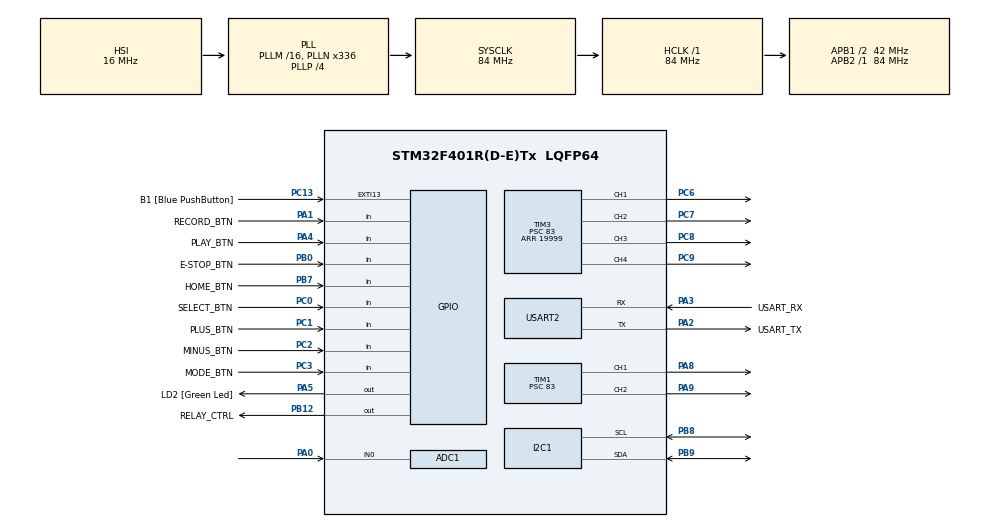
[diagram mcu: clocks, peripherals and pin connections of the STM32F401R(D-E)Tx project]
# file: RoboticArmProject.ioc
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ADC1.Channel-0\#ChannelRegularConversion=ADC_CHANNEL_0
ADC1.NbrOfConversionFlag=1
ADC1.Rank-0\#ChannelRegularConversion=1
ADC1.SamplingTime-0\#ChannelRegularConversion=ADC_SAMPLETIME_3CYCLES
ADC1.master=1
FREERTOS.Mutexes01=xMutex1,Dynamic,NULL,Available
FREERTOS.Tasks01=StartTask_Monit,48,512,StartTask_MonitorFcn,Default,NULL,Dynamic,NULL,NULL;StartTask_Servo,40,512,StartTask_ServoFcn,Default,NULL,Dynamic,NULL,NULL;StartTask_Logic,32,512,StartTask_LogicFcn,Default,NULL,Dynamic,NULL,NULL;StartTask_HMI,24,512,StartTask_HMIFcn,Default,NULL,Dynamic,NULL,NULL
Mcu.Family=STM32F4
Mcu.Name=STM32F401R(D-E)Tx
Mcu.Package=LQFP64
NVIC.PriorityGroup=NVIC_PRIORITYGROUP_4
PA0-WKUP.Signal=ADCx_IN0
PA1.GPIO_Label=RECORD_BTN
PA1.GPIO_PuPd=GPIO_NOPULL
PA1.Signal=GPIO_Input
PA13.GPIO_Label=TMS
PA13.Mode=Trace_Asynchronous_SW
PA13.Signal=SYS_JTMS-SWDIO
PA14.GPIO_Label=TCK
PA14.Mode=Trace_Asynchronous_SW
PA14.Signal=SYS_JTCK-SWCLK
PA2.GPIO_Label=USART_TX
PA2.GPIO_Mode=GPIO_MODE_AF_PP
PA2.GPIO_PuPd=GPIO_NOPULL
PA2.GPIO_Speed=GPIO_SPEED_FREQ_LOW
PA2.Mode=Asynchronous
PA2.Signal=USART2_TX
PA3.GPIO_Label=USART_RX
PA3.GPIO_Mode=GPIO_MODE_AF_PP
PA3.GPIO_PuPd=GPIO_NOPULL
PA3.GPIO_Speed=GPIO_SPEED_FREQ_LOW
PA3.Mode=Asynchronous
PA3.Signal=USART2_RX
PA4.GPIO_Label=PLAY_BTN
PA4.GPIO_PuPd=GPIO_NOPULL
PA4.Signal=GPIO_Input
PA5.GPIO_Label=LD2 [Green Led]
PA5.GPIO_Mode=GPIO_MODE_OUTPUT_PP
PA5.GPIO_PuPd=GPIO_NOPULL
PA5.GPIO_Speed=GPIO_SPEED_FREQ_LOW
PA5.Signal=GPIO_Output
PA8.Signal=S_TIM1_CH1
PA9.Signal=S_TIM1_CH2
PB0.GPIO_Label=E-STOP_BTN
PB0.Signal=GPIO_Input
PB12.GPIO_Label=RELAY_CTRL
PB12.Signal=GPIO_Output
PB3.GPIO_Label=SWO
PB3.Mode=Trace_Asynchronous_SW
PB3.Signal=SYS_JTDO-SWO
PB7.GPIO_Label=HOME_BTN
PB7.GPIO_PuPd=GPIO_NOPULL
PB7.Signal=GPIO_Input
PB8.GPIO_Pu=GPIO_PULLUP
PB8.Mode=I2C
PB8.Signal=I2C1_SCL
PB9.GPIO_Pu=GPIO_PULLUP
PB9.Mode=I2C
PB9.Signal=I2C1_SDA
PC0.GPIO_Label=SELECT_BTN
PC0.GPIO_PuPd=GPIO_NOPULL
PC0.Signal=GPIO_Input
PC1.GPIO_Label=PLUS_BTN
PC1.GPIO_PuPd=GPIO_NOPULL
PC1.Signal=GPIO_Input
PC13-ANTI_TAMP.GPIO_Label=B1 [Blue PushButton]
PC13-ANTI_TAMP.GPIO_ModeDefaultEXTI=GPIO_MODE_IT_FALLING
PC13-ANTI_TAMP.GPIO_PuPd=GPIO_NOPULL
PC13-ANTI_TAMP.Signal=GPXTI13
PC14-OSC32_IN.Mode=LSE-External-Oscillator
PC14-OSC32_IN.Signal=RCC_OSC32_IN
PC15-OSC32_OUT.Mode=LSE-External-Oscillator
PC15-OSC32_OUT.Signal=RCC_OSC32_OUT
PC2.GPIO_Label=MINUS_BTN
PC2.GPIO_PuPd=GPIO_NOPULL
PC2.Signal=GPIO_Input
PC3.GPIO_Label=MODE_BTN
PC3.GPIO_PuPd=GPIO_NOPULL
PC3.Signal=GPIO_Input
PC6.Signal=S_TIM3_CH1
PC7.Signal=S_TIM3_CH2
PC8.Signal=S_TIM3_CH3
PC9.Signal=S_TIM3_CH4
PH0\ -\ OSC_IN.Mode=HSE-External-Clock-Source
PH0\ -\ OSC_IN.Signal=RCC_OSC_IN
PH1\ -\ OSC_OUT.Mode=HSE-External-Clock-Source
PH1\ -\ OSC_OUT.Signal=RCC_OSC_OUT
ProjectManager.HeapSize=0x200
ProjectManager.StackSize=0x400
ProjectManager.TargetToolchain=STM32CubeIDE
RCC.48MHZClocksFreq_Value=48000000
RCC.AHBFreq_Value=84000000
RCC.APB1CLKDivider=RCC_HCLK_DIV2
RCC.APB1Freq_Value=42000000
RCC.APB1TimFreq_Value=84000000
RCC.APB2Freq_Value=84000000
RCC.APB2TimFreq_Value=84000000
RCC.CortexFreq_Value=84000000
RCC.HCLKFreq_Value=84000000
RCC.HSE_VALUE=8000000
RCC.HSI_VALUE=16000000
RCC.PLLN=336
RCC.PLLP=RCC_PLLP_DIV4
RCC.PLLQ=7
RCC.SYSCLKFreq_VALUE=84000000
RCC.SYSCLKSource=RCC_SYSCLKSOURCE_PLLCLK
RCC.VCOOutputFreq_Value=336000000
SH.ADCx_IN0.0=ADC1_IN0,IN0
SH.S_TIM1_CH1.0=TIM1_CH1,PWM Generation1 CH1
SH.S_TIM1_CH2.0=TIM1_CH2,PWM Generation2 CH2
SH.S_TIM3_CH1.0=TIM3_CH1,PWM Generation1 CH1
SH.S_TIM3_CH2.0=TIM3_CH2,PWM Generation2 CH2
SH.S_TIM3_CH3.0=TIM3_CH3,PWM Generation3 CH3
SH.S_TIM3_CH4.0=TIM3_CH4,PWM Generation4 CH4
TIM1.Channel-PWM\ Generation1\ CH1=TIM_CHANNEL_1
TIM1.Channel-PWM\ Generation2\ CH2=TIM_CHANNEL_2
TIM1.Period=19999
TIM1.Prescaler=83
TIM3.Channel-PWM\ Generation1\ CH1=TIM_CHANNEL_1
TIM3.Channel-PWM\ Generation2\ CH2=TIM_CHANNEL_2
TIM3.Channel-PWM\ Generation3\ CH3=TIM_CHANNEL_3
TIM3.Channel-PWM\ Generation4\ CH4=TIM_CHANNEL_4
TIM3.Period=19999
TIM3.Prescaler=83
USART2.VirtualMode=VM_ASYNC
VP_FREERTOS_VS_CMSIS_V2.Mode=CMSIS_V2
VP_TIM1_VS_ClockSourceINT.Mode=Internal
VP_TIM3_VS_ClockSourceINT.Mode=Internal
board=NUCLEO-F401RE

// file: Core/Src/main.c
/* USER CODE BEGIN Header */
/**
  ******************************************************************************
  * @file           : main.c
  * @brief          : Main program body
  ******************************************************************************
  * @attention
  *
  * Copyright (c) 2025 STMicroelectronics.
  * All rights reserved.
  *
  * This software is licensed under terms that can be found in the LICENSE file
  * in the root directory of this software component.
  * If no LICENSE file comes with this software, it is provided AS-IS.
  *
  ******************************************************************************
  */
/* USER CODE END Header */
#include "main.h"
#include "cmsis_os.h"

/* USER CODE BEGIN Includes */
#include "lcd_i2c.h"
#include "kinematics.h"
#include <string.h>
#include <stdio.h>
/* USER CODE END Includes */

ADC_HandleTypeDef hadc1;

I2C_HandleTypeDef hi2c1;

TIM_HandleTypeDef htim1;
TIM_HandleTypeDef htim3;

UART_HandleTypeDef huart2;

/* Definitions for StartTask_Monit */
osThreadId_t StartTask_MonitHandle;
const osThreadAttr_t StartTask_Monit_attributes = {
  .name = "StartTask_Monit",
  .stack_size = 512 * 4,
  .priority = (osPriority_t) osPriorityRealtime,
};
/* Definitions for StartTask_Servo */
osThreadId_t StartTask_ServoHandle;
const osThreadAttr_t StartTask_Servo_attributes = {
  .name = "StartTask_Servo",
  .stack_size = 512 * 4,
  .priority = (osPriority_t) osPriorityHigh,
};
/* Definitions for StartTask_Logic */
osThreadId_t StartTask_LogicHandle;
const osThreadAttr_t StartTask_Logic_attributes = {
  .name = "StartTask_Logic",
  .stack_size = 512 * 4,
  .priority = (osPriority_t) osPriorityAboveNormal,
};
/* Definitions for StartTask_HMI */
osThreadId_t StartTask_HMIHandle;
const osThreadAttr_t StartTask_HMI_attributes = {
  .name = "StartTask_HMI",
  .stack_size = 512 * 4,
  .priority = (osPriority_t) osPriorityNormal,
};
/* Definitions for xMutex1 */
osMutexId_t xMutex1Handle;
const osMutexAttr_t xMutex1_attributes = {
  .name = "xMutex1"
};
/* USER CODE BEGIN PV */

#define BTN_SELECT_PORT GPIOC
#define BTN_SELECT_PIN  GPIO_PIN_0

#define BTN_PLUS_PORT   GPIOC
#define BTN_PLUS_PIN    GPIO_PIN_1

#define BTN_MINUS_PORT  GPIOC
#define BTN_MINUS_PIN   GPIO_PIN_2

#define BTN_MODE_PORT   GPIOC
#define BTN_MODE_PIN    GPIO_PIN_3

#define BTN_RECORD_PORT GPIOA
#define BTN_RECORD_PIN  GPIO_PIN_1

#define BTN_PLAY_PORT   GPIOA
#define BTN_PLAY_PIN    GPIO_PIN_4

#define BTN_HOME_PORT   GPIOB
#define BTN_HOME_PIN    GPIO_PIN_7

#define BTN_ESTOP_PORT  GPIOB
#define BTN_ESTOP_PIN   GPIO_PIN_0

#define RELAY_PORT      GPIOB
#define RELAY_PIN       GPIO_PIN_12

#define MAX_POINTS 20

#define HOME_M1   90.0f
#define HOME_M2   90.0f
#define HOME_M3   90.0f
#define HOME_M4   90.0f
#define HOME_M5   90.0f
#define HOME_GRIP 5.0f

/* USER CODE END PV */

void SystemClock_Config(void);
static void MX_GPIO_Init(void);
static void MX_USART2_UART_Init(void);
static void MX_ADC1_Init(void);
static void MX_TIM1_Init(void);
static void MX_TIM3_Init(void);
static void MX_I2C1_Init(void);
void StartTask_MonitorFcn(void *argument);
void StartTask_ServoFcn(void *argument);
void StartTask_LogicFcn(void *argument);
void StartTask_HMIFcn(void *argument);

int main(void)
{

  /* MCU Configuration--------------------------------------------------------*/

  /* Reset of all peripherals, Initializes the Flash interface and the Systick. */
  HAL_Init();

  /* Configure the system clock */
  SystemClock_Config();

  /* Initialize all configured peripherals */
  MX_GPIO_Init();
  MX_USART2_UART_Init();
  MX_ADC1_Init();
  MX_TIM1_Init();
  MX_TIM3_Init();
  MX_I2C1_Init();
  /* USER CODE BEGIN 2 */
  LCD_Init();
  LCD_Clear();

  /* USER CODE END 2 */

  /* Init scheduler */
  osKernelInitialize();
  /* Create the mutex(es) */
  /* creation of xMutex1 */
  xMutex1Handle = osMutexNew(&xMutex1_attributes);

  /* Create the thread(s) */
  /* creation of StartTask_Monit */
  StartTask_MonitHandle = osThreadNew(StartTask_MonitorFcn, NULL, &StartTask_Monit_attributes);

  /* creation of StartTask_Servo */
  StartTask_ServoHandle = osThreadNew(StartTask_ServoFcn, NULL, &StartTask_Servo_attributes);

  /* creation of StartTask_Logic */
  StartTask_LogicHandle = osThreadNew(StartTask_LogicFcn, NULL, &StartTask_Logic_attributes);

  /* creation of StartTask_HMI */
  StartTask_HMIHandle = osThreadNew(StartTask_HMIFcn, NULL, &StartTask_HMI_attributes);

  /* Start scheduler */
  osKernelStart();

  /* We should never get here as control is now taken by the scheduler */

  /* Infinite loop */
  while (1)
    {

  }
}

void SystemClock_Config(void)
{
  RCC_OscInitTypeDef RCC_OscInitStruct = {0};
  RCC_ClkInitTypeDef RCC_ClkInitStruct = {0};

  /** Configure the main internal regulator output voltage
  */
  __HAL_RCC_PWR_CLK_ENABLE();
  __HAL_PWR_VOLTAGESCALING_CONFIG(PWR_REGULATOR_VOLTAGE_SCALE2);

  /** Initializes the RCC Oscillators according to the specified parameters
  * in the RCC_OscInitTypeDef structure.
  */
  RCC_OscInitStruct.OscillatorType = RCC_OSCILLATORTYPE_HSI;
  RCC_OscInitStruct.HSIState = RCC_HSI_ON;
  RCC_OscInitStruct.HSICalibrationValue = RCC_HSICALIBRATION_DEFAULT;
  RCC_OscInitStruct.PLL.PLLState = RCC_PLL_ON;
  RCC_OscInitStruct.PLL.PLLSource = RCC_PLLSOURCE_HSI;
  RCC_OscInitStruct.PLL.PLLM = 16;
  RCC_OscInitStruct.PLL.PLLN = 336;
  RCC_OscInitStruct.PLL.PLLP = RCC_PLLP_DIV4;
  RCC_OscInitStruct.PLL.PLLQ = 7;
  if (HAL_RCC_OscConfig(&RCC_OscInitStruct) != HAL_OK)
  {
    Error_Handler();
  }

  /** Initializes the CPU, AHB and APB buses clocks
  */
  RCC_ClkInitStruct.ClockType = RCC_CLOCKTYPE_HCLK|RCC_CLOCKTYPE_SYSCLK
                              |RCC_CLOCKTYPE_PCLK1|RCC_CLOCKTYPE_PCLK2;
  RCC_ClkInitStruct.SYSCLKSource = RCC_SYSCLKSOURCE_PLLCLK;
  RCC_ClkInitStruct.AHBCLKDivider = RCC_SYSCLK_DIV1;
  RCC_ClkInitStruct.APB1CLKDivider = RCC_HCLK_DIV2;
  RCC_ClkInitStruct.APB2CLKDivider = RCC_HCLK_DIV1;

  if (HAL_RCC_ClockConfig(&RCC_ClkInitStruct, FLASH_LATENCY_2) != HAL_OK)
  {
    Error_Handler();
  }
}

static void MX_ADC1_Init(void)
{

  ADC_ChannelConfTypeDef sConfig = {0};

  /** Configure the global features of the ADC (Clock, Resolution, Data Alignment and number of conversion)
  */
  hadc1.Instance = ADC1;
  hadc1.Init.ClockPrescaler = ADC_CLOCK_SYNC_PCLK_DIV4;
  hadc1.Init.Resolution = ADC_RESOLUTION_12B;
  hadc1.Init.ScanConvMode = DISABLE;
  hadc1.Init.ContinuousConvMode = DISABLE;
  hadc1.Init.DiscontinuousConvMode = DISABLE;
  hadc1.Init.ExternalTrigConvEdge = ADC_EXTERNALTRIGCONVEDGE_NONE;
  hadc1.Init.ExternalTrigConv = ADC_SOFTWARE_START;
  hadc1.Init.DataAlign = ADC_DATAALIGN_RIGHT;
  hadc1.Init.NbrOfConversion = 1;
  hadc1.Init.DMAContinuousRequests = DISABLE;
  hadc1.Init.EOCSelection = ADC_EOC_SINGLE_CONV;
  if (HAL_ADC_Init(&hadc1) != HAL_OK)
  {
    Error_Handler();
  }

  /** Configure for the selected ADC regular channel its corresponding rank in the sequencer and its sample time.
  */
  sConfig.Channel = ADC_CHANNEL_0;
  sConfig.Rank = 1;
  sConfig.SamplingTime = ADC_SAMPLETIME_3CYCLES;
  if (HAL_ADC_ConfigChannel(&hadc1, &sConfig) != HAL_OK)
  {
    Error_Handler();
  }

}

static void MX_I2C1_Init(void)
{

  hi2c1.Instance = I2C1;
  hi2c1.Init.ClockSpeed = 100000;
  hi2c1.Init.DutyCycle = I2C_DUTYCYCLE_2;
  hi2c1.Init.OwnAddress1 = 0;
  hi2c1.Init.AddressingMode = I2C_ADDRESSINGMODE_7BIT;
  hi2c1.Init.DualAddressMode = I2C_DUALADDRESS_DISABLE;
  hi2c1.Init.OwnAddress2 = 0;
  hi2c1.Init.GeneralCallMode = I2C_GENERALCALL_DISABLE;
  hi2c1.Init.NoStretchMode = I2C_NOSTRETCH_DISABLE;
  if (HAL_I2C_Init(&hi2c1) != HAL_OK)
  {
    Error_Handler();
  }

}

static void MX_TIM1_Init(void)
{

  TIM_ClockConfigTypeDef sClockSourceConfig = {0};
  TIM_MasterConfigTypeDef sMasterConfig = {0};
  TIM_OC_InitTypeDef sConfigOC = {0};
  TIM_BreakDeadTimeConfigTypeDef sBreakDeadTimeConfig = {0};

  htim1.Instance = TIM1;
  htim1.Init.Prescaler = 83;
  htim1.Init.CounterMode = TIM_COUNTERMODE_UP;
  htim1.Init.Period = 19999;
  htim1.Init.ClockDivision = TIM_CLOCKDIVISION_DIV1;
  htim1.Init.RepetitionCounter = 0;
  htim1.Init.AutoReloadPreload = TIM_AUTORELOAD_PRELOAD_DISABLE;
  if (HAL_TIM_Base_Init(&htim1) != HAL_OK)
  {
    Error_Handler();
  }
  sClockSourceConfig.ClockSource = TIM_CLOCKSOURCE_INTERNAL;
  if (HAL_TIM_ConfigClockSource(&htim1, &sClockSourceConfig) != HAL_OK)
  {
    Error_Handler();
  }
  if (HAL_TIM_PWM_Init(&htim1) != HAL_OK)
  {
    Error_Handler();
  }
  sMasterConfig.MasterOutputTrigger = TIM_TRGO_RESET;
  sMasterConfig.MasterSlaveMode = TIM_MASTERSLAVEMODE_DISABLE;
  if (HAL_TIMEx_MasterConfigSynchronization(&htim1, &sMasterConfig) != HAL_OK)
  {
    Error_Handler();
  }
  sConfigOC.OCMode = TIM_OCMODE_PWM1;
  sConfigOC.Pulse = 0;
  sConfigOC.OCPolarity = TIM_OCPOLARITY_HIGH;
  sConfigOC.OCNPolarity = TIM_OCNPOLARITY_HIGH;
  sConfigOC.OCFastMode = TIM_OCFAST_DISABLE;
  sConfigOC.OCIdleState = TIM_OCIDLESTATE_RESET;
  sConfigOC.OCNIdleState = TIM_OCNIDLESTATE_RESET;
  if (HAL_TIM_PWM_ConfigChannel(&htim1, &sConfigOC, TIM_CHANNEL_1) != HAL_OK)
  {
    Error_Handler();
  }
  if (HAL_TIM_PWM_ConfigChannel(&htim1, &sConfigOC, TIM_CHANNEL_2) != HAL_OK)
  {
    Error_Handler();
  }
  sBreakDeadTimeConfig.OffStateRunMode = TIM_OSSR_DISABLE;
  sBreakDeadTimeConfig.OffStateIDLEMode = TIM_OSSI_DISABLE;
  sBreakDeadTimeConfig.LockLevel = TIM_LOCKLEVEL_OFF;
  sBreakDeadTimeConfig.DeadTime = 0;
  sBreakDeadTimeConfig.BreakState = TIM_BREAK_DISABLE;
  sBreakDeadTimeConfig.BreakPolarity = TIM_BREAKPOLARITY_HIGH;
  sBreakDeadTimeConfig.AutomaticOutput = TIM_AUTOMATICOUTPUT_DISABLE;
  if (HAL_TIMEx_ConfigBreakDeadTime(&htim1, &sBreakDeadTimeConfig) != HAL_OK)
  {
    Error_Handler();
  }
  HAL_TIM_MspPostInit(&htim1);

}

static void MX_TIM3_Init(void)
{

  TIM_ClockConfigTypeDef sClockSourceConfig = {0};
  TIM_MasterConfigTypeDef sMasterConfig = {0};
  TIM_OC_InitTypeDef sConfigOC = {0};

  htim3.Instance = TIM3;
  htim3.Init.Prescaler = 83;
  htim3.Init.CounterMode = TIM_COUNTERMODE_UP;
  htim3.Init.Period = 19999;
  htim3.Init.ClockDivision = TIM_CLOCKDIVISION_DIV1;
  htim3.Init.AutoReloadPreload = TIM_AUTORELOAD_PRELOAD_DISABLE;
  if (HAL_TIM_Base_Init(&htim3) != HAL_OK)
  {
    Error_Handler();
  }
  sClockSourceConfig.ClockSource = TIM_CLOCKSOURCE_INTERNAL;
  if (HAL_TIM_ConfigClockSource(&htim3, &sClockSourceConfig) != HAL_OK)
  {
    Error_Handler();
  }
  if (HAL_TIM_PWM_Init(&htim3) != HAL_OK)
  {
    Error_Handler();
  }
  sMasterConfig.MasterOutputTrigger = TIM_TRGO_RESET;
  sMasterConfig.MasterSlaveMode = TIM_MASTERSLAVEMODE_DISABLE;
  if (HAL_TIMEx_MasterConfigSynchronization(&htim3, &sMasterConfig) != HAL_OK)
  {
    Error_Handler();
  }
  sConfigOC.OCMode = TIM_OCMODE_PWM1;
  sConfigOC.Pulse = 0;
  sConfigOC.OCPolarity = TIM_OCPOLARITY_HIGH;
  sConfigOC.OCFastMode = TIM_OCFAST_DISABLE;
  if (HAL_TIM_PWM_ConfigChannel(&htim3, &sConfigOC, TIM_CHANNEL_1) != HAL_OK)
  {
    Error_Handler();
  }
  if (HAL_TIM_PWM_ConfigChannel(&htim3, &sConfigOC, TIM_CHANNEL_2) != HAL_OK)
  {
    Error_Handler();
  }
  if (HAL_TIM_PWM_ConfigChannel(&htim3, &sConfigOC, TIM_CHANNEL_3) != HAL_OK)
  {
    Error_Handler();
  }
  if (HAL_TIM_PWM_ConfigChannel(&htim3, &sConfigOC, TIM_CHANNEL_4) != HAL_OK)
  {
    Error_Handler();
  }
  HAL_TIM_MspPostInit(&htim3);

}

static void MX_USART2_UART_Init(void)
{

  huart2.Instance = USART2;
  huart2.Init.BaudRate = 115200;
  huart2.Init.WordLength = UART_WORDLENGTH_8B;
  huart2.Init.StopBits = UART_STOPBITS_1;
  huart2.Init.Parity = UART_PARITY_NONE;
  huart2.Init.Mode = UART_MODE_TX_RX;
  huart2.Init.HwFlowCtl = UART_HWCONTROL_NONE;
  huart2.Init.OverSampling = UART_OVERSAMPLING_16;
  if (HAL_UART_Init(&huart2) != HAL_OK)
  {
    Error_Handler();
  }

}

static void MX_GPIO_Init(void)
{
  GPIO_InitTypeDef GPIO_InitStruct = {0};

  /* GPIO Ports Clock Enable */
  __HAL_RCC_GPIOC_CLK_ENABLE();
  __HAL_RCC_GPIOH_CLK_ENABLE();
  __HAL_RCC_GPIOA_CLK_ENABLE();
  __HAL_RCC_GPIOB_CLK_ENABLE();

  /*Configure GPIO pin Output Level */
  HAL_GPIO_WritePin(LD2_GPIO_Port, LD2_Pin, GPIO_PIN_RESET);

  /*Configure GPIO pin Output Level */
  HAL_GPIO_WritePin(RELAY_CTRL_GPIO_Port, RELAY_CTRL_Pin, GPIO_PIN_RESET);

  /*Configure GPIO pin : B1_Pin */
  GPIO_InitStruct.Pin = B1_Pin;
  GPIO_InitStruct.Mode = GPIO_MODE_IT_FALLING;
  GPIO_InitStruct.Pull = GPIO_NOPULL;
  HAL_GPIO_Init(B1_GPIO_Port, &GPIO_InitStruct);

  /*Configure GPIO pins : SELECT_BTN_Pin PLUS_BTN_Pin MINUS_BTN_Pin MODE_BTN_Pin */
  GPIO_InitStruct.Pin = SELECT_BTN_Pin|PLUS_BTN_Pin|MINUS_BTN_Pin|MODE_BTN_Pin;
  GPIO_InitStruct.Mode = GPIO_MODE_INPUT;
  GPIO_InitStruct.Pull = GPIO_NOPULL;
  HAL_GPIO_Init(GPIOC, &GPIO_InitStruct);

  /*Configure GPIO pins : RECORD_BTN_Pin PLAY_BTN_Pin */
  GPIO_InitStruct.Pin = RECORD_BTN_Pin|PLAY_BTN_Pin;
  GPIO_InitStruct.Mode = GPIO_MODE_INPUT;
  GPIO_InitStruct.Pull = GPIO_NOPULL;
  HAL_GPIO_Init(GPIOA, &GPIO_InitStruct);

  /*Configure GPIO pin : LD2_Pin */
  GPIO_InitStruct.Pin = LD2_Pin;
  GPIO_InitStruct.Mode = GPIO_MODE_OUTPUT_PP;
  GPIO_InitStruct.Pull = GPIO_NOPULL;
  GPIO_InitStruct.Speed = GPIO_SPEED_FREQ_LOW;
  HAL_GPIO_Init(LD2_GPIO_Port, &GPIO_InitStruct);

  /*Configure GPIO pins : E_STOP_BTN_Pin HOME_BTN_Pin */
  GPIO_InitStruct.Pin = E_STOP_BTN_Pin|HOME_BTN_Pin;
  GPIO_InitStruct.Mode = GPIO_MODE_INPUT;
  GPIO_InitStruct.Pull = GPIO_NOPULL;
  HAL_GPIO_Init(GPIOB, &GPIO_InitStruct);

  /*Configure GPIO pin : RELAY_CTRL_Pin */
  GPIO_InitStruct.Pin = RELAY_CTRL_Pin;
  GPIO_InitStruct.Mode = GPIO_MODE_OUTPUT_PP;
  GPIO_InitStruct.Pull = GPIO_NOPULL;
  GPIO_InitStruct.Speed = GPIO_SPEED_FREQ_LOW;
  HAL_GPIO_Init(RELAY_CTRL_GPIO_Port, &GPIO_InitStruct);

}

/* USER CODE BEGIN 4 */
typedef enum {
    PLAY_RETRACE, // Dus-Intors prin toate punctele
    PLAY_FAST     // Dus prin puncte, Intors direct
} PlaybackType;

volatile PlaybackType selectedPlaybackMode = PLAY_RETRACE;

typedef struct {
    float m1, m2, m3, m4, m5, grip;
} RobotPose;

RobotPose savedPoints[MAX_POINTS];
volatile int pointCount = 0;

typedef enum {
    MODE_MANUAL,
    MODE_PLAY
} RobotMode;

volatile RobotMode currentMode = MODE_MANUAL;
volatile uint8_t isPlaying = 0;
volatile uint8_t isEmergency = 0;
volatile uint8_t selectedMotor = 1;

volatile float angM1 = HOME_M1;
volatile float angM2 = HOME_M2;
volatile float angM3 = HOME_M3;
volatile float angM4 = HOME_M4;
volatile float angM5 = HOME_M5;
volatile float angGrip = HOME_GRIP;

char *motorNames[] = {"", "BASE (M1)", "SHLDR(M2)", "ELBOW(M3)", "ROLL (M4)", "PITCH(M5)", "GRIP (M6)"};

uint8_t MoveSynchronized(RobotPose target, int speedDelay) {

    if (isEmergency) return 1;

    float diff1 = target.m1 - angM1;
    float diff2 = target.m2 - angM2;
    float diff3 = target.m3 - angM3;
    float diff4 = target.m4 - angM4;
    float diff5 = target.m5 - angM5;
    float diffG = target.grip - angGrip;

    float maxDiff = 0;
    if(fabsf(diff1) > maxDiff) maxDiff = fabsf(diff1);
    if(fabsf(diff2) > maxDiff) maxDiff = fabsf(diff2);
    if(fabsf(diff3) > maxDiff) maxDiff = fabsf(diff3);

    int steps = (int)(maxDiff * 2.0f);
    if (steps < 10) steps = 10;

    float start1 = angM1, start2 = angM2, start3 = angM3;
    float start4 = angM4, start5 = angM5, startG = angGrip;

    for (int s = 1; s <= steps; s++) {

        if (isEmergency) return 1;
        if (isPlaying) {
             if (HAL_GPIO_ReadPin(BTN_PLAY_PORT, BTN_PLAY_PIN) == GPIO_PIN_RESET ||
                 HAL_GPIO_ReadPin(BTN_HOME_PORT, BTN_HOME_PIN) == GPIO_PIN_RESET ||
                 HAL_GPIO_ReadPin(BTN_MODE_PORT, BTN_MODE_PIN) == GPIO_PIN_RESET) {
                 return 1;
             }
        }

        float t = (float)s / (float)steps;

        osMutexAcquire(xMutex1Handle, osWaitForever);

        angM1 = start1 + t * diff1;
        angM2 = start2 + t * diff2;
        angM3 = start3 + t * diff3;
        angM4 = start4 + t * diff4;
        angM5 = start5 + t * diff5;
        angGrip = startG + t * diffG;

        osMutexRelease(xMutex1Handle);

        osDelay(speedDelay);
    }
    return 0;
}
/* USER CODE END 4 */

void StartTask_MonitorFcn(void *argument)
{
  /* USER CODE BEGIN 5 */
	HAL_GPIO_WritePin(RELAY_PORT, RELAY_PIN, GPIO_PIN_SET);

	  uint32_t adcZero = 0;
	  for(int i=0; i<50; i++) {
	      HAL_ADC_Start(&hadc1);
	      HAL_ADC_PollForConversion(&hadc1, 10);
	      adcZero += HAL_ADC_GetValue(&hadc1);
	      HAL_ADC_Stop(&hadc1);
	      osDelay(2);
	  }
	  adcZero /= 50;

	  uint32_t adcLimit = adcZero + 900;

	  uint8_t overCurrentCount = 0;
	  /* Infinite loop */
	  for(;;)
	  {
	      // E-STOP FIZIC
	      if (HAL_GPIO_ReadPin(BTN_ESTOP_PORT, BTN_ESTOP_PIN) == GPIO_PIN_RESET) {
	          if (!isEmergency) {
	              isEmergency = 1;
	              HAL_GPIO_WritePin(RELAY_PORT, RELAY_PIN, GPIO_PIN_RESET);
	          }
	      }

	      // MONITORIZARE CURENT
	      else if (!isEmergency) {

	          HAL_ADC_Start(&hadc1);
	          if (HAL_ADC_PollForConversion(&hadc1, 5) == HAL_OK) {
	              uint32_t rawVal = HAL_ADC_GetValue(&hadc1);

	              if (rawVal > adcLimit) {
	                  overCurrentCount++;
	                  if (overCurrentCount > 10) {
	                      isEmergency = 1;
	                      HAL_GPIO_WritePin(RELAY_PORT, RELAY_PIN, GPIO_PIN_RESET);
	                  }
	              } else {
	                  overCurrentCount = 0;
	              }
	          }
	      }
	      // C. Revenire
	      else {
	           // Robotul ramane in E-Stop pana la Reset
	      }

	      osDelay(20);
	  }
  /* USER CODE END 5 */
}

void StartTask_ServoFcn(void *argument)
{
  /* USER CODE BEGIN StartTask_ServoFcn */
	HAL_TIM_PWM_Start(&htim3, TIM_CHANNEL_1);
	HAL_TIM_PWM_Start(&htim3, TIM_CHANNEL_2);
	HAL_TIM_PWM_Start(&htim3, TIM_CHANNEL_3);
	HAL_TIM_PWM_Start(&htim3, TIM_CHANNEL_4);
	HAL_TIM_PWM_Start(&htim1, TIM_CHANNEL_1);
	HAL_TIM_PWM_Start(&htim1, TIM_CHANNEL_2);
	__HAL_TIM_MOE_ENABLE(&htim1);
  /* Infinite loop */
  for(;;)
  {
	  if (!isEmergency) {
	          // CONVERSIE: GRADE (0-180) -> PULS (500-2500)
	          // Formula: Puls = 500 + (Unghi * 11.11)

		  	  osMutexAcquire(xMutex1Handle, osWaitForever);

	          uint32_t p1 = (uint32_t)(500 + angM1 * 11.11f);
	          uint32_t p2 = (uint32_t)(500 + angM2 * 11.11f);
	          uint32_t p3 = (uint32_t)(500 + angM3 * 11.11f);
	          uint32_t p4 = (uint32_t)(500 + angM4 * 11.11f);
	          uint32_t p5 = (uint32_t)(500 + angM5 * 11.11f);
	          uint32_t pG = (uint32_t)(500 + angGrip * 11.11f);

	          osMutexRelease(xMutex1Handle);

	          // Scriem in timere
	          __HAL_TIM_SET_COMPARE(&htim3, TIM_CHANNEL_1, p1);
	          __HAL_TIM_SET_COMPARE(&htim3, TIM_CHANNEL_2, p2);
	          __HAL_TIM_SET_COMPARE(&htim3, TIM_CHANNEL_3, p3);
	          __HAL_TIM_SET_COMPARE(&htim3, TIM_CHANNEL_4, p4);
	          __HAL_TIM_SET_COMPARE(&htim1, TIM_CHANNEL_1, p5);
	          __HAL_TIM_SET_COMPARE(&htim1, TIM_CHANNEL_2, pG);
	      }
	      osDelay(20);
	    }
  /* USER CODE END StartTask_ServoFcn */
}

void StartTask_LogicFcn(void *argument)
{
  /* USER CODE BEGIN StartTask_LogicFcn */
  uint32_t lastToggle = 0;
  uint32_t lastMove = 0;
  /* Infinite loop */
  for(;;)
  {
      if (!isEmergency) {

        // A. MOD MANUAL
        if (currentMode == MODE_MANUAL) {

            // 1. SELECTARE MOTOR SI MODE
        	if (HAL_GPIO_ReadPin(BTN_MODE_PORT, BTN_MODE_PIN) == GPIO_PIN_RESET) {

        	                uint32_t pressStart = HAL_GetTick();
        	                uint8_t homeExecuted = 0; // Flag sa stim daca am facut Home

        	                // Cat timp tii apasat, numaram timpul
        	                while(HAL_GPIO_ReadPin(BTN_MODE_PORT, BTN_MODE_PIN) == GPIO_PIN_RESET) {

        	                    // Daca au trecut 3 secunde (3000 ms)
        	                    if (HAL_GetTick() - pressStart > 3000) {

        	                        // --- ACTIUNEA LUNGA: GO HOME ---
        	                        LCD_SetCursor(0, 0);
        	                        LCD_Print("GOING HOME...   ");

        	                        // Definim pozitia de casa
        	                        RobotPose homePose;
        	                        homePose.m1 = HOME_M1; homePose.m2 = HOME_M2; homePose.m3 = HOME_M3;
        	                        homePose.m4 = HOME_M4; homePose.m5 = HOME_M5; homePose.grip = HOME_GRIP;

        	                        // Executam miscarea
        	                        MoveSynchronized(homePose, 10);

        	                        // Confirmare
        	                        LCD_SetCursor(0, 0);
        	                        LCD_Print("HOME DONE       ");
        	                        osDelay(1000);

        	                        homeExecuted = 1; // Marcam ca am executat Home
        	                        break; // Iesim fortat din bucla de asteptare
        	                    }
        	                    osDelay(10);
        	                }

        	                // --- ACTIUNEA SCURTA: TOGGLE MODE ---
        	                // Executam schimbarea modului DOAR DACA NU am facut Home deja
        	                if (homeExecuted == 0) {
        	                    // Debounce simplu (sa nu fie zgomot)
        	                    if (HAL_GetTick() - pressStart > 50) {
        	                        selectedPlaybackMode = (selectedPlaybackMode == PLAY_RETRACE) ? PLAY_FAST : PLAY_RETRACE;
        	                    }
        	                }

        	                // Asigurare: Asteptam sa iei mana complet de pe buton inainte sa continuam
        	                while(HAL_GPIO_ReadPin(BTN_MODE_PORT, BTN_MODE_PIN) == GPIO_PIN_RESET) osDelay(10);
        	            }
            if (HAL_GPIO_ReadPin(BTN_SELECT_PORT, BTN_SELECT_PIN) == GPIO_PIN_RESET) {
                if (HAL_GetTick() - lastToggle > 300) {
                    selectedMotor++;
                    if (selectedMotor > 6) selectedMotor = 1;
                    lastToggle = HAL_GetTick();
                }
            }

            // 2. MISCARE MOTOR
            float dir = 0.0f;
            if (HAL_GPIO_ReadPin(BTN_PLUS_PORT, BTN_PLUS_PIN) == GPIO_PIN_RESET) dir = 1.0f;
            if (HAL_GPIO_ReadPin(BTN_MINUS_PORT, BTN_MINUS_PIN) == GPIO_PIN_RESET) dir = -1.0f;

            if (dir != 0.0f && (HAL_GetTick() - lastMove > 10)) {
                float step = 1.5f;

                osMutexAcquire(xMutex1Handle, osWaitForever);

                switch(selectedMotor) {
                    case 1: angM1 += dir * step; break;
                    case 2: angM2 += dir * step; break;
                    case 3: angM3 += dir * step; break;
                    case 4: angM4 += dir * step; break;
                    case 5: angM5 += dir * step; break;
                    case 6: angGrip += dir * 2.5f; break;
                }
                // Limite
                if(angM1 < 45.0f) angM1 = 45.0f;
                if(angM1 > 160.0f) angM1 = 160.0f;
                if(angM2 < 10.0f) angM2 = 10.0f;
                if(angM2 > 170.0f) angM2 = 170.0f;
                if(angM3 < 10.0f) angM3 = 10.0f;
                if(angM3 > 170.0f) angM3 = 170.0f;
                if(angM4 < 80.0f) angM4 = 80.0f;
                if(angM4 > 170.0f) angM4 = 170.0f;
                if(angM5 < 10.0f) angM5 = 10.0f;
                if(angM5 > 170.0f) angM5 = 170.0f;
                if(angGrip < 0.0f) angGrip = 0.0f;
                if(angGrip > 90.0f) angGrip = 90.0f;

                osMutexRelease(xMutex1Handle);

                lastMove = HAL_GetTick();
            }

            // 3. RECORD
            if (HAL_GPIO_ReadPin(BTN_RECORD_PORT, BTN_RECORD_PIN) == GPIO_PIN_RESET) {
                uint32_t start = HAL_GetTick();
                osDelay(50);

                while(HAL_GPIO_ReadPin(BTN_RECORD_PORT, BTN_RECORD_PIN) == GPIO_PIN_RESET) {
                    if(HAL_GetTick() - start > 3000) break;
                    osDelay(10);
                }

                if (HAL_GetTick() - start > 2000) {
                    pointCount = 0;
                    LCD_SetCursor(0,0); LCD_Print("POINTS CLEARED  "); osDelay(1000);
                } else {
                    if (pointCount < MAX_POINTS) {
                        savedPoints[pointCount].m1 = angM1;
                        savedPoints[pointCount].m2 = angM2;
                        savedPoints[pointCount].m3 = angM3;
                        savedPoints[pointCount].m4 = angM4;
                        savedPoints[pointCount].m5 = angM5;
                        savedPoints[pointCount].grip = angGrip;
                        pointCount++;
                    }
                }
            }

            // 4. GO HOME
            if (HAL_GPIO_ReadPin(BTN_HOME_PORT, BTN_HOME_PIN) == GPIO_PIN_RESET) {
                LCD_SetCursor(0, 0);
                LCD_Print("GOING HOME...   ");

                RobotPose homePose;
                homePose.m1 = HOME_M1; homePose.m2 = HOME_M2; homePose.m3 = HOME_M3;
                homePose.m4 = HOME_M4; homePose.m5 = HOME_M5; homePose.grip = HOME_GRIP;

                MoveSynchronized(homePose, 10);

                uint32_t wStart = HAL_GetTick();
                while(HAL_GPIO_ReadPin(BTN_HOME_PORT, BTN_HOME_PIN) == GPIO_PIN_RESET) {
                     if(HAL_GetTick() - wStart > 2000) break;
                     osDelay(10);
                }

                LCD_SetCursor(0, 0);
                LCD_Print("HOME DONE       ");
                osDelay(500);
            }

            // 5. START PLAY
            if (pointCount > 1 && HAL_GPIO_ReadPin(BTN_PLAY_PORT, BTN_PLAY_PIN) == GPIO_PIN_RESET) {
                 uint32_t wStart = HAL_GetTick();
                 while(HAL_GPIO_ReadPin(BTN_PLAY_PORT, BTN_PLAY_PIN) == GPIO_PIN_RESET) {
                     if(HAL_GetTick() - wStart > 2000) break;
                     osDelay(10);
                 }
                 currentMode = MODE_PLAY;
                 isPlaying = 1;
            }
        }

        // B. MOD PLAY
        else if (isPlaying) {
            // DUS
            for(int i=0; i<pointCount; i++) {
                if (MoveSynchronized(savedPoints[i], 10) != 0) {
                    isPlaying = 0; currentMode = MODE_MANUAL; osDelay(500); break;
                }
            }
            // INTORS
            if (isPlaying) {
                if (selectedPlaybackMode == PLAY_RETRACE) {
                    for(int i=pointCount-2; i>=0; i--) {
                        if (MoveSynchronized(savedPoints[i], 10) != 0) {
                            isPlaying = 0; currentMode = MODE_MANUAL; osDelay(500); break;
                        }
                    }
                } else {
                    // FAST MODE
                    if (MoveSynchronized(savedPoints[0], 10) != 0) {
                        isPlaying = 0; currentMode = MODE_MANUAL; osDelay(500);
                    }
                }
            }
        }
    }
    osDelay(10);
  }
  /* USER CODE END StartTask_LogicFcn */
}

void StartTask_HMIFcn(void *argument)
{
  /* USER CODE BEGIN StartTask_HMIFcn */
	osDelay(1000);
	LCD_Init();
	LCD_Print("READY");
	osDelay(1000);
	LCD_Clear();
	char buf[32];
	uint32_t lastRef = 0;
  /* Infinite loop */
  for(;;)
  {
	  if (HAL_GetTick() - lastRef > 10000) {
	  	        LCD_SendCommand(0x28);
	  	        LCD_SendCommand(0x0C);
	  	        LCD_SendCommand(0x06);
	  	        lastRef = HAL_GetTick();
	  	    }

	  	    if (isEmergency) {
	  	        LCD_SetCursor(0,0); LCD_Print("!! E-STOP !!   ");
	  	    } else {
	  	        LCD_SetCursor(0,0);
	  	        if (isPlaying) {
	  	             LCD_Print("RUNNING...      ");
	  	        } else {
	  	            char *modeStr = (selectedPlaybackMode == PLAY_RETRACE) ? "RET" : "FST";
	  	            sprintf(buf, "P:%d MODE:%s    ", pointCount, modeStr);
	  	            LCD_Print(buf);
	  	        }

	  	        LCD_SetCursor(1,0);
	  	        float val = 0;
	  	        switch(selectedMotor) {
	  	            case 1: val = angM1; break;
	  	            case 2: val = angM2; break;
	  	            case 3: val = angM3; break;
	  	            case 4: val = angM4; break;
	  	            case 5: val = angM5; break;
	  	            case 6: val = angGrip; break;
	  	        }

	  	        sprintf(buf, "M%d: %d deg      ", selectedMotor, (int)val);
	  	        LCD_Print(buf);
	  	    }
	  	    osDelay(150);
	  	  }
  /* USER CODE END StartTask_HMIFcn */
}

void Error_Handler(void)
{
  __disable_irq();
  while (1)
  {
  }
}
